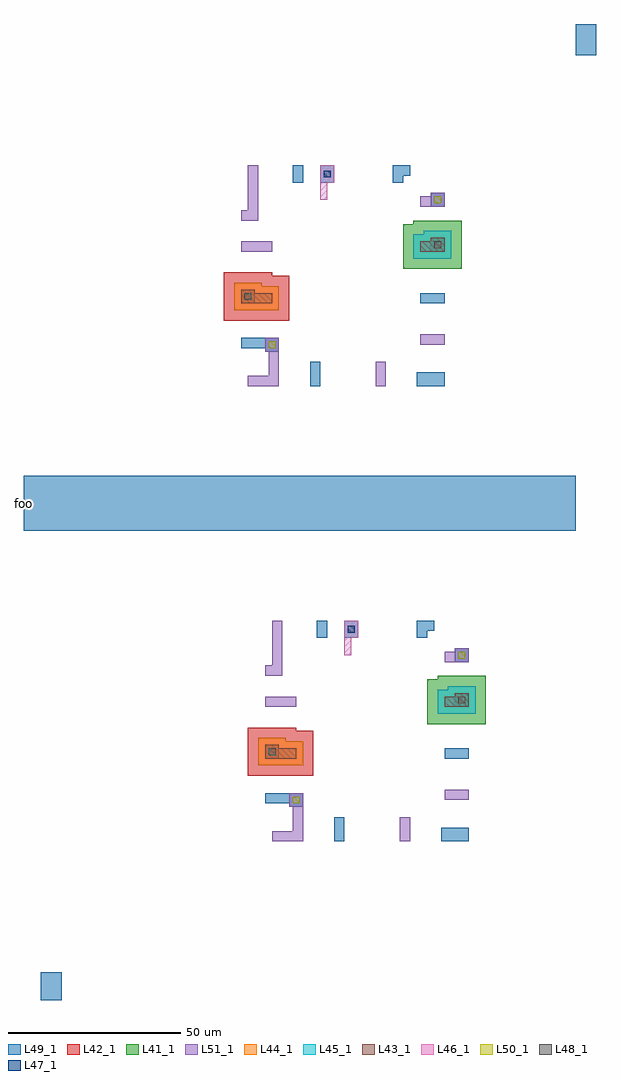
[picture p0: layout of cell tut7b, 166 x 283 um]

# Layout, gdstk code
import gdstk
lib = gdstk.Library(unit=1e-6, precision=1e-09)
def R(c, l, rs):  # rectangles x0, y0, x1, y1
    for r in rs: c.add(gdstk.rectangle(r[:2], r[2:], *l))
L41_1 = (41, 1)
L42_1 = (42, 1)
L43_1 = (43, 1)
L44_1 = (44, 1)
L45_1 = (45, 1)
L46_1 = (46, 1)
L47_1 = (47, 1)
L48_1 = (48, 1)
L49_1 = (49, 1)
L50_1 = (50, 1)
L51_1 = (51, 1)

tut7c = lib.new_cell('tut7c')
R(tut7c, L41_1, [(33,5,50,18), (36,18,50,19)])
R(tut7c, L42_1, [(-19,-10,0,3), (-19,3,-5,4)])
R(tut7c, L43_1, [(-14,-5,-5,-2), (-14,-2,-10,-1), (38,10,45,13), (41,13,45,14)])
R(tut7c, L44_1, [(-16,-7,-3,0), (-16,0,-8,1)])
R(tut7c, L45_1, [(36,8,47,15), (39,15,47,16)])
R(tut7c, L46_1, [(9,25,11,30), (9,30,13,35)])
R(tut7c, L47_1, [(10,31.5,12,33.5)])
R(tut7c, L48_1, [(-13,-4,-11,-2), (42,11,44,13)])
R(tut7c, L49_1, [(6,-29,9,-22), (37,-29,45,-25), (-7,-19,-3,-18), (-14,-18,-3,-15), (-14,-5,-10,-1), (38,-5,45,-2), (41,10,45,14), (41,23,45,27), (1,30,4,35), (9,30,13,35), (30,30,33,32), (30,32,35,35)])
R(tut7c, L50_1, [(-6,-18,-4,-16), (42,24,44,26)])
R(tut7c, L51_1, [(-12,-29,-3,-26), (25,-29,28,-22), (-6,-26,-3,-19), (-7,-19,-3,-15), (38,-17,45,-14), (-14,10,-5,13), (-14,19,-9,22), (-12,22,-9,35), (38,23,45,26), (41,26,45,27)])
tut7c.add(gdstk.Label('bot3', (-7.5,-29), layer=51, texttype=1))
tut7c.add(gdstk.Label('bot2', (7.5,-29), layer=49, texttype=1))
tut7c.add(gdstk.Label('left2', (-14,-3), layer=49, texttype=1))
tut7c.add(gdstk.Label('right2', (45,12), layer=49, texttype=1))
tut7c.add(gdstk.Label('top3', (11,35), layer=49, texttype=1))
tut7c.add(gdstk.Label('right1', (45,25), layer=49, texttype=1))
tut7c.add(gdstk.Label('top4', (32.5,35), layer=49, texttype=1))
tut7c.add(gdstk.Label('left3', (-14,11.5), layer=51, texttype=1))
tut7c.add(gdstk.Label('left1', (-14,-16.5), layer=49, texttype=1))
tut7c.add(gdstk.Label('bot1', (26.5,-29), layer=51, texttype=1))
tut7c.add(gdstk.Label('right5', (45,-27), layer=49, texttype=1))
tut7c.add(gdstk.Label('right4', (45,-15.5), layer=51, texttype=1))
tut7c.add(gdstk.Label('right3', (45,-3.5), layer=49, texttype=1))
tut7c.add(gdstk.Label('left4', (-14,20.5), layer=51, texttype=1))
tut7c.add(gdstk.Label('top1', (-10.5,35), layer=51, texttype=1))
tut7c.add(gdstk.Label('top2', (2.5,35), layer=49, texttype=1))

tut7b = lib.new_cell('tut7b')
R(tut7b, L49_1, [(-61,-181,-55,-173), (-66,-45,94,-29), (94,93,100,102)])
tut7b.add(gdstk.Reference(tut7c, (11,26)))
tut7b.add(gdstk.Reference(tut7c, (18,-106)))
tut7b.add(gdstk.Label('foo', (-66,-37), layer=49, texttype=1))

lib.write_gds('tut7b.gds')
